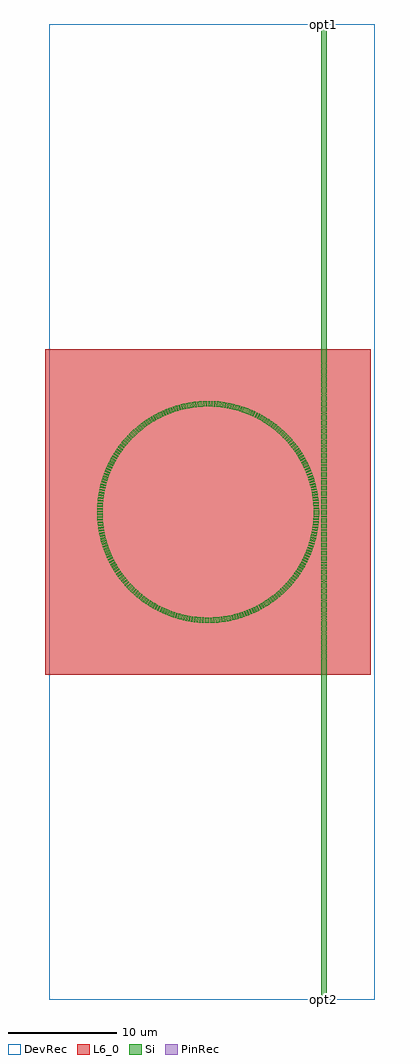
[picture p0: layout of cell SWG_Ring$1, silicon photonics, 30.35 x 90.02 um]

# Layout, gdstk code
import gdstk
lib = gdstk.Library(unit=1e-6, precision=1e-09)
def R(c, l, rs):  # rectangles x0, y0, x1, y1
    for r in rs: c.add(gdstk.rectangle(r[:2], r[2:], *l))
def A(c, l, x, y, w, h, nx, ny, dx, dy):  # array of equal rectangles
    R(c, l, [(x+i*dx, y+j*dy, x+i*dx+w, y+j*dy+h) for i in range(nx) for j in range(ny)])
def P(c, l, *ps):  # polygons
    for p in ps: c.add(gdstk.Polygon(p, *l))
Si = (1, 0)
PinRec = (1, 10)
L6_0 = (6, 0)
DevRec = (68, 0)

swg_ring_1 = lib.new_cell('SWG_Ring$1')
A(swg_ring_1, Si, 10.437, -14.75, 0.5, 0.175, 1, 60, 0, 0.25)
A(swg_ring_1, Si, 10.437, 0, 0.5, 0.175, 1, 60, 0, 0.25)
R(swg_ring_1, Si, [(10.437,-45,10.937,-14.75), (10.437,0,10.937,0.175), (10.437,14.925,10.937,45)])
P(swg_ring_1, Si, [(-10.237,-0.049),(-10.236,0.131),(-9.736,0.124),(-9.737,-0.046)],
  [(0.428,9.728),(0.257,9.734),(0.27,10.233),(0.45,10.227)],
  [(-0.23,9.734),(-0.242,10.234),(-0.063,10.237),(-0.06,9.737)],
  [(-0.474,9.725),(-0.498,10.225),(-0.319,10.232),(-0.303,9.732)],
  [(-0.717,9.711),(-0.754,10.209),(-0.575,10.221),(-0.547,9.722)],
  [(-0.96,9.69),(-1.009,10.187),(-0.831,10.203),(-0.79,9.705)],
  [(-1.202,9.662),(-1.264,10.159),(-1.086,10.179),(-1.033,9.682)],
  [(-1.444,9.629),(-1.518,10.124),(-1.34,10.149),(-1.275,9.653)],
  [(-1.684,9.59),(-1.771,10.083),(-1.594,10.112),(-1.516,9.618)],
  [(-1.924,9.545),(-2.022,10.035),(-1.846,10.069),(-1.756,9.577)],
  [(-2.162,9.494),(-2.273,9.981),(-2.098,10.02),(-1.995,9.53)],
  [(-2.399,9.437),(-2.522,9.921),(-2.348,9.964),(-2.233,9.477)],
  [(-2.634,9.374),(-2.77,9.855),(-2.597,9.902),(-2.47,9.419)],
  [(-2.868,9.305),(-3.015,9.783),(-2.844,9.834),(-2.705,9.354)],
  [(-3.1,9.23),(-3.259,9.704),(-3.089,9.76),(-2.938,9.283)],
  [(-3.33,9.15),(-3.501,9.62),(-3.332,9.68),(-3.169,9.207)],
  [(-3.558,9.064),(-3.741,9.529),(-3.573,9.593),(-3.399,9.125)],
  [(-3.784,8.972),(-3.978,9.432),(-3.812,9.501),(-3.626,9.037)],
  [(-4.007,8.874),(-4.213,9.33),(-4.049,9.402),(-3.851,8.943)],
  [(-4.228,8.771),(-4.445,9.222),(-4.283,9.298),(-4.074,8.844)],
  [(-4.446,8.663),(-4.675,9.107),(-4.514,9.188),(-4.294,8.739)],
  [(-4.662,8.549),(-4.901,8.988),(-4.743,9.072),(-4.511,8.629)],
  [(-4.874,8.429),(-5.124,8.862),(-4.968,8.95),(-4.726,8.513)],
  [(-5.084,8.305),(-5.345,8.731),(-5.191,8.823),(-4.937,8.392)],
  [(-5.29,8.175),(-5.561,8.595),(-5.41,8.691),(-5.146,8.266)],
  [(-5.493,8.04),(-5.775,8.453),(-5.626,8.552),(-5.351,8.135)],
  [(-5.692,7.9),(-5.985,8.305),(-5.838,8.409),(-5.553,7.998)],
  [(-5.888,7.755),(-6.191,8.153),(-6.047,8.26),(-5.751,7.857)],
  [(-6.08,7.605),(-6.393,7.996),(-6.252,8.106),(-5.946,7.71)],
  [(-6.269,7.45),(-6.591,7.833),(-6.453,7.947),(-6.137,7.559)],
  [(-6.453,7.291),(-6.785,7.666),(-6.649,7.783),(-6.325,7.403)],
  [(-6.634,7.127),(-6.975,7.493),(-6.842,7.614),(-6.508,7.243)],
  [(-6.81,6.959),(-7.16,7.317),(-7.031,7.441),(-6.687,7.077)],
  [(-6.982,6.787),(-7.341,7.135),(-7.215,7.263),(-6.862,6.908)],
  [(-7.15,6.61),(-7.517,6.949),(-7.394,7.08),(-7.033,6.734)],
  [(-7.313,6.429),(-7.689,6.759),(-7.569,6.892),(-7.199,6.556)],
  [(-7.472,6.244),(-7.855,6.564),(-7.739,6.701),(-7.361,6.374)],
  [(-7.626,6.055),(-8.017,6.366),(-7.904,6.505),(-7.518,6.187)],
  [(-7.775,5.862),(-8.174,6.163),(-8.065,6.305),(-7.671,5.997)],
  [(-7.919,5.665),(-8.326,5.956),(-8.22,6.101),(-7.819,5.803)],
  [(-8.058,5.466),(-8.472,5.746),(-8.37,5.894),(-7.961,5.606)],
  [(-8.193,5.262),(-8.613,5.532),(-8.515,5.682),(-8.099,5.405)],
  [(-8.322,5.055),(-8.749,5.315),(-8.655,5.467),(-8.232,5.2)],
  [(-8.446,4.846),(-8.879,5.094),(-8.789,5.249),(-8.359,4.993)],
  [(-8.564,4.633),(-9.004,4.871),(-8.917,5.028),(-8.482,4.782)],
  [(-8.678,4.417),(-9.123,4.644),(-9.04,4.803),(-8.599,4.568)],
  [(-8.785,4.198),(-9.237,4.414),(-9.158,4.575),(-8.71,4.352)],
  [(-8.888,3.977),(-9.344,4.181),(-9.269,4.344),(-8.817,4.132)],
  [(-8.984,3.753),(-9.446,3.946),(-9.375,4.111),(-8.917,3.91)],
  [(-9.076,3.527),(-9.542,3.709),(-9.475,3.875),(-9.012,3.686)],
  [(-9.161,3.299),(-9.631,3.469),(-9.569,3.637),(-9.102,3.459)],
  [(-9.241,3.069),(-9.715,3.226),(-9.657,3.396),(-9.186,3.23)],
  [(-9.315,2.837),(-9.793,2.982),(-9.739,3.153),(-9.264,2.999)],
  [(-9.383,2.603),(-9.865,2.736),(-9.815,2.909),(-9.336,2.767)],
  [(-9.445,2.367),(-9.93,2.488),(-9.885,2.662),(-9.402,2.532)],
  [(-9.501,2.13),(-9.989,2.239),(-9.948,2.414),(-9.462,2.296)],
  [(-9.552,1.891),(-10.042,1.988),(-10.006,2.164),(-9.517,2.058)],
  [(-9.596,1.652),(-10.089,1.736),(-10.057,1.913),(-9.565,1.82)],
  [(-9.634,1.411),(-10.129,1.483),(-10.101,1.661),(-9.608,1.58)],
  [(-9.666,1.169),(-10.163,1.229),(-10.14,1.407),(-9.645,1.339)],
  [(-9.693,0.927),(-10.19,0.975),(-10.172,1.153),(-9.675,1.097)],
  [(-9.713,0.684),(-10.212,0.719),(-10.197,0.898),(-9.699,0.854)],
  [(-9.727,0.441),(-10.226,0.464),(-10.217,0.643),(-9.718,0.611)],
  [(-9.735,0.197),(-10.235,0.207),(-10.23,0.387),(-9.73,0.368)],
  [(0.184,9.735),(0.013,9.737),(0.014,10.237),(0.193,10.235)],
  [(5.655,7.927),(5.515,8.025),(5.798,8.437),(5.945,8.334)],
  [(5.454,8.066),(5.312,8.16),(5.585,8.579),(5.735,8.48)],
  [(10.657,4.925),(10.437,14.925),(10.937,14.925),(10.717,4.925)],
  [(1.638,9.598),(1.47,9.625),(1.546,10.12),(1.723,10.091)],
  [(1.398,9.636),(1.229,9.659),(1.292,10.155),(1.47,10.131)],
  [(1.156,9.668),(0.987,9.687),(1.037,10.184),(1.216,10.165)],
  [(0.914,9.694),(0.744,9.709),(0.782,10.207),(0.961,10.192)],
  [(0.671,9.714),(0.501,9.724),(0.526,10.223),(0.705,10.213)],
  [(5.251,8.2),(5.106,8.291),(5.369,8.716),(5.52,8.621)],
  [(5.044,8.329),(4.897,8.416),(5.149,8.848),(5.303,8.756)],
  [(4.834,8.452),(4.685,8.536),(4.926,8.974),(5.082,8.886)],
  [(4.621,8.571),(4.47,8.65),(4.7,9.094),(4.858,9.011)],
  [(4.405,8.684),(4.252,8.759),(4.47,9.209),(4.631,9.13)],
  [(4.186,8.791),(4.032,8.863),(4.239,9.318),(4.401,9.243)],
  [(3.965,8.893),(3.808,8.961),(4.004,9.421),(4.168,9.35)],
  [(3.741,8.99),(3.583,9.054),(3.767,9.519),(3.933,9.451)],
  [(3.515,9.08),(3.355,9.141),(3.528,9.61),(3.695,9.547)],
  [(3.287,9.166),(3.125,9.222),(3.286,9.695),(3.455,9.636)],
  [(3.056,9.245),(2.894,9.297),(3.042,9.774),(3.213,9.72)],
  [(2.824,9.319),(2.66,9.367),(2.797,9.848),(2.969,9.797)],
  [(2.59,9.386),(2.425,9.43),(2.549,9.914),(2.723,9.868)],
  [(2.354,9.448),(2.188,9.488),(2.3,9.975),(2.475,9.933)],
  [(2.117,9.504),(1.95,9.54),(2.05,10.03),(2.225,9.992)],
  [(1.878,9.554),(1.711,9.586),(1.798,10.078),(1.975,10.045)],
  [(9.226,3.113),(9.17,3.274),(9.641,3.442),(9.7,3.273)],
  [(9.145,3.343),(9.085,3.502),(9.552,3.682),(9.615,3.514)],
  [(9.059,3.571),(8.995,3.729),(9.457,3.92),(9.524,3.754)],
  [(8.966,3.796),(8.899,3.953),(9.356,4.156),(9.427,3.991)],
  [(8.869,4.019),(8.797,4.174),(9.249,4.388),(9.324,4.226)],
  [(8.765,4.24),(8.69,4.393),(9.136,4.619),(9.215,4.458)],
  [(8.656,4.458),(8.577,4.609),(9.017,4.846),(9.101,4.687)],
  [(8.542,4.673),(8.459,4.822),(8.893,5.07),(8.981,4.913)],
  [(8.422,4.886),(8.336,5.033),(8.764,5.291),(8.855,5.137)],
  [(8.298,5.095),(8.207,5.24),(8.628,5.509),(8.724,5.357)],
  [(8.167,5.301),(8.073,5.443),(8.488,5.723),(8.587,5.573)],
  [(8.032,5.504),(7.935,5.644),(8.342,5.934),(8.445,5.786)],
  [(7.892,5.703),(7.791,5.841),(8.191,6.14),(8.297,5.996)],
  [(7.747,5.899),(7.642,6.034),(8.035,6.344),(8.145,6.202)],
  [(7.597,6.091),(7.489,6.223),(7.873,6.543),(7.987,6.404)],
  [(7.442,6.279),(7.331,6.409),(7.707,6.738),(7.824,6.602)],
  [(9.734,0.244),(9.728,0.414),(10.228,0.435),(10.234,0.256)],
  [(9.725,0.487),(9.715,0.658),(10.214,0.691),(10.224,0.512)],
  [(9.71,0.73),(9.695,0.9),(10.193,0.947),(10.208,0.768)],
  [(9.688,0.973),(9.67,1.143),(10.166,1.202),(10.186,1.023)],
  [(9.737,0),(9.735,0.171),(10.235,0.179),(10.237,0)],
  [(7.282,6.463),(7.168,6.59),(7.536,6.928),(7.656,6.795)],
  [(7.118,6.644),(7.001,6.767),(7.36,7.115),(7.484,6.985)],
  [(6.95,6.82),(6.829,6.94),(7.18,7.297),(7.307,7.17)],
  [(6.777,6.992),(6.653,7.109),(6.995,7.474),(7.125,7.351)],
  [(6.6,7.159),(6.473,7.273),(6.806,7.647),(6.939,7.527)],
  [(6.419,7.322),(6.289,7.433),(6.612,7.815),(6.748,7.698)],
  [(6.233,7.48),(6.101,7.588),(6.415,7.978),(6.553,7.864)],
  [(6.044,7.634),(5.909,7.739),(6.213,8.136),(6.355,8.026)],
  [(5.851,7.783),(5.714,7.884),(6.007,8.289),(6.152,8.182)],
  [(9.627,1.457),(9.6,1.625),(10.093,1.709),(10.122,1.532)],
  [(9.588,1.697),(9.557,1.865),(10.047,1.961),(10.08,1.785)],
  [(9.542,1.937),(9.507,2.104),(9.995,2.212),(10.032,2.036)],
  [(9.491,2.175),(9.451,2.341),(9.937,2.461),(9.978,2.287)],
  [(9.434,2.412),(9.39,2.577),(9.872,2.709),(9.918,2.536)],
  [(9.37,2.647),(9.322,2.811),(9.801,2.955),(9.851,2.783)],
  [(9.301,2.881),(9.249,3.043),(9.724,3.2),(9.779,3.029)],
  [(9.661,1.215),(9.638,1.385),(10.133,1.456),(10.157,1.278)],
  [(0.188,-10.235),(0.179,-9.735),(0.35,-9.731),(0.368,-10.23)],
  [(5.516,-8.624),(5.247,-8.202),(5.39,-8.109),(5.667,-8.526)],
  [(5.73,-8.483),(5.451,-8.068),(5.591,-7.972),(5.878,-8.381)],
  [(10.437,-14.75),(10.657,-4.75),(10.717,-4.75),(10.937,-14.75)],
  [(6.148,-8.185),(5.847,-7.786),(5.983,-7.682),(6.29,-8.076)],
  [(6.351,-8.029),(6.04,-7.637),(6.173,-7.53),(6.49,-7.917)],
  [(6.55,-7.868),(6.23,-7.483),(6.36,-7.373),(6.686,-7.752)],
  [(6.744,-7.701),(6.415,-7.325),(6.542,-7.211),(6.878,-7.582)],
  [(6.935,-7.53),(6.596,-7.162),(6.721,-7.045),(7.066,-7.407)],
  [(7.121,-7.354),(6.774,-6.995),(6.895,-6.875),(7.249,-7.228)],
  [(7.303,-7.173),(6.947,-6.823),(7.065,-6.7),(7.428,-7.044)],
  [(7.48,-6.988),(7.115,-6.647),(7.23,-6.521),(7.602,-6.856)],
  [(7.653,-6.799),(7.279,-6.467),(7.391,-6.338),(7.771,-6.664)],
  [(7.821,-6.605),(7.439,-6.283),(7.548,-6.151),(7.935,-6.467)],
  [(7.984,-6.408),(7.594,-6.095),(7.699,-5.961),(8.095,-6.267)],
  [(8.142,-6.206),(7.744,-5.903),(7.846,-5.766),(8.249,-6.062)],
  [(8.294,-6),(7.889,-5.707),(7.988,-5.568),(8.398,-5.854)],
  [(8.442,-5.791),(8.03,-5.508),(8.125,-5.366),(8.542,-5.642)],
  [(8.584,-5.577),(8.165,-5.305),(8.257,-5.161),(8.681,-5.426)],
  [(8.721,-5.361),(8.295,-5.099),(8.383,-4.953),(8.814,-5.207)],
  [(8.852,-5.141),(8.42,-4.89),(8.504,-4.742),(8.941,-4.985)],
  [(8.978,-4.918),(8.54,-4.678),(8.621,-4.527),(9.063,-4.76)],
  [(9.099,-4.691),(8.654,-4.462),(8.731,-4.31),(9.179,-4.531)],
  [(9.213,-4.462),(8.763,-4.244),(8.836,-4.09),(9.29,-4.3)],
  [(9.322,-4.23),(8.867,-4.024),(8.936,-3.868),(9.395,-4.066)],
  [(9.425,-3.996),(8.965,-3.801),(9.03,-3.643),(9.494,-3.83)],
  [(9.522,-3.759),(9.057,-3.575),(9.118,-3.416),(9.586,-3.591)],
  [(9.613,-3.519),(9.144,-3.347),(9.201,-3.186),(9.673,-3.35)],
  [(9.698,-3.277),(9.224,-3.117),(9.278,-2.955),(9.754,-3.107)],
  [(9.777,-3.034),(9.3,-2.885),(9.349,-2.722),(9.829,-2.862)],
  [(9.85,-2.788),(9.369,-2.652),(9.414,-2.487),(9.897,-2.615)],
  [(9.917,-2.541),(9.432,-2.416),(9.473,-2.251),(9.96,-2.366)],
  [(9.977,-2.292),(9.49,-2.18),(9.527,-2.013),(10.016,-2.116)],
  [(10.031,-2.041),(9.541,-1.941),(9.574,-1.774),(10.066,-1.865)],
  [(10.079,-1.789),(9.587,-1.702),(9.615,-1.534),(10.109,-1.613)],
  [(10.121,-1.537),(9.627,-1.462),(9.651,-1.293),(10.146,-1.359)],
  [(10.156,-1.283),(9.66,-1.22),(9.68,-1.051),(10.177,-1.105)],
  [(10.185,-1.028),(9.688,-0.978),(9.703,-0.808),(10.202,-0.85)],
  [(10.208,-0.773),(9.709,-0.735),(9.721,-0.565),(10.22,-0.594)],
  [(10.224,-0.517),(9.725,-0.492),(9.732,-0.322),(10.231,-0.338)],
  [(10.234,-0.261),(9.734,-0.248),(9.737,-0.078),(10.237,-0.082)],
  [(5.941,-8.337),(5.651,-7.93),(5.789,-7.829),(6.086,-8.231)],
  [(3.451,-9.638),(3.282,-9.167),(3.442,-9.108),(3.619,-9.576)],
  [(3.691,-9.549),(3.51,-9.082),(3.669,-9.019),(3.857,-9.482)],
  [(3.929,-9.453),(3.737,-8.991),(3.894,-8.925),(4.094,-9.383)],
  [(4.164,-9.352),(3.961,-8.895),(4.116,-8.824),(4.327,-9.277)],
  [(4.397,-9.245),(4.182,-8.793),(4.335,-8.719),(4.558,-9.166)],
  [(4.627,-9.132),(4.401,-8.686),(4.552,-8.607),(4.786,-9.049)],
  [(4.854,-9.013),(4.617,-8.573),(4.766,-8.491),(5.011,-8.927)],
  [(5.078,-8.889),(4.83,-8.455),(4.977,-8.369),(5.233,-8.798)],
  [(5.299,-8.759),(5.04,-8.331),(5.185,-8.242),(5.451,-8.665)],
  [(0.956,-10.192),(0.909,-9.694),(1.079,-9.677),(1.134,-10.174)],
  [(1.211,-10.165),(1.151,-9.669),(1.321,-9.647),(1.388,-10.142)],
  [(1.465,-10.132),(1.393,-9.637),(1.562,-9.611),(1.642,-10.104)],
  [(1.718,-10.092),(1.634,-9.599),(1.802,-9.569),(1.894,-10.06)],
  [(1.97,-10.046),(1.874,-9.555),(2.041,-9.521),(2.145,-10.01)],
  [(2.221,-9.993),(2.112,-9.505),(2.278,-9.467),(2.395,-9.953)],
  [(2.47,-9.935),(2.349,-9.449),(2.515,-9.407),(2.644,-9.89)],
  [(2.718,-9.87),(2.585,-9.388),(2.749,-9.341),(2.89,-9.82)],
  [(2.964,-9.798),(2.819,-9.32),(2.982,-9.269),(3.135,-9.745)],
  [(3.208,-9.721),(3.052,-9.246),(3.213,-9.192),(3.378,-9.664)],
  [(0.445,-10.227),(0.423,-9.728),(0.593,-9.719),(0.624,-10.218)],
  [(0.7,-10.213),(0.666,-9.714),(0.836,-9.701),(0.879,-10.199)],
  [(-9.304,-4.27),(-9.377,-4.106),(-8.919,-3.906),(-8.849,-4.062)],
  [(-6.711,-7.73),(-6.846,-7.611),(-6.511,-7.239),(-6.384,-7.352)],
  [(-9.967,-2.334),(-10.007,-2.159),(-9.518,-2.054),(-9.48,-2.22)],
  [(-6.516,-7.895),(-6.653,-7.78),(-6.328,-7.4),(-6.198,-7.51)],
  [(-9.194,-4.502),(-9.272,-4.34),(-8.819,-4.128),(-8.745,-4.282)],
  [(-6.316,-8.056),(-6.456,-7.944),(-6.141,-7.556),(-6.008,-7.663)],
  [(-10.151,-1.326),(-10.172,-1.148),(-9.676,-1.092),(-9.655,-1.261)],
  [(-6.113,-8.212),(-6.256,-8.103),(-5.95,-7.708),(-5.814,-7.811)],
  [(-9.079,-4.73),(-9.16,-4.571),(-8.713,-4.347),(-8.635,-4.499)],
  [(-5.905,-8.362),(-6.051,-8.257),(-5.755,-7.854),(-5.617,-7.954)],
  [(-9.906,-2.583),(-9.949,-2.409),(-9.464,-2.291),(-9.422,-2.457)],
  [(-5.694,-8.507),(-5.842,-8.406),(-5.557,-7.996),(-5.416,-8.092)],
  [(-8.957,-4.956),(-9.043,-4.798),(-8.601,-4.564),(-8.52,-4.714)],
  [(-5.479,-8.647),(-5.63,-8.55),(-5.355,-8.132),(-5.212,-8.225)],
  [(-10.222,-0.561),(-10.23,-0.382),(-9.73,-0.363),(-9.722,-0.534)],
  [(-5.261,-8.782),(-5.414,-8.688),(-5.15,-8.264),(-5.004,-8.353)],
  [(-8.83,-5.179),(-8.92,-5.023),(-8.484,-4.778),(-8.399,-4.926)],
  [(-5.04,-8.91),(-5.195,-8.821),(-4.941,-8.39),(-4.794,-8.475)],
  [(-9.838,-2.83),(-9.886,-2.657),(-9.403,-2.527),(-9.358,-2.692)],
  [(-4.815,-9.034),(-4.973,-8.948),(-4.73,-8.511),(-4.58,-8.593)],
  [(-8.698,-5.398),(-8.791,-5.245),(-8.362,-4.989),(-8.273,-5.134)],
  [(-4.588,-9.151),(-4.747,-9.07),(-4.515,-8.627),(-4.364,-8.704)],
  [(-10.114,-1.58),(-10.14,-1.402),(-9.645,-1.334),(-9.62,-1.503)],
  [(-4.357,-9.263),(-4.519,-9.186),(-4.298,-8.737),(-4.144,-8.811)],
  [(-8.56,-5.614),(-8.657,-5.463),(-8.234,-5.196),(-8.142,-5.34)],
  [(-4.124,-9.37),(-4.287,-9.296),(-4.078,-8.842),(-3.922,-8.912)],
  [(-9.764,-3.075),(-9.816,-2.904),(-9.337,-2.762),(-9.287,-2.925)],
  [(-3.888,-9.47),(-4.053,-9.4),(-3.855,-8.941),(-3.698,-9.007)],
  [(-8.417,-5.827),(-8.518,-5.678),(-8.102,-5.401),(-8.006,-5.542)],
  [(-3.65,-9.564),(-3.817,-9.499),(-3.63,-9.035),(-3.472,-9.097)],
  [(-10.204,-0.817),(-10.217,-0.638),(-9.718,-0.607),(-9.706,-0.777)],
  [(-3.409,-9.653),(-3.578,-9.591),(-3.403,-9.123),(-3.243,-9.181)],
  [(-8.269,-6.035),(-8.373,-5.89),(-7.964,-5.602),(-7.865,-5.741)],
  [(-3.167,-9.735),(-3.337,-9.678),(-3.174,-9.205),(-3.012,-9.259)],
  [(-9.684,-3.319),(-9.741,-3.149),(-9.265,-2.995),(-9.211,-3.157)],
  [(-2.922,-9.811),(-3.094,-9.758),(-2.942,-9.282),(-2.779,-9.332)],
  [(-8.115,-6.24),(-8.223,-6.097),(-7.821,-5.8),(-7.719,-5.936)],
  [(-2.676,-9.881),(-2.848,-9.833),(-2.709,-9.352),(-2.545,-9.399)],
  [(-10.072,-1.832),(-10.102,-1.656),(-9.609,-1.575),(-9.58,-1.743)],
  [(-2.427,-9.945),(-2.601,-9.901),(-2.474,-9.417),(-2.309,-9.459)],
  [(-7.956,-6.442),(-8.068,-6.301),(-7.674,-5.993),(-7.568,-6.127)],
  [(-2.178,-10.003),(-2.353,-9.963),(-2.238,-9.476),(-2.071,-9.514)],
  [(-9.598,-3.56),(-9.659,-3.391),(-9.187,-3.226),(-9.129,-3.386)],
  [(-1.927,-10.054),(-2.103,-10.019),(-2,-9.529),(-1.833,-9.563)],
  [(-7.792,-6.639),(-7.908,-6.501),(-7.521,-6.184),(-7.412,-6.314)],
  [(-1.675,-10.099),(-1.851,-10.068),(-1.761,-9.576),(-1.593,-9.606)],
  [(-10.181,-1.072),(-10.198,-0.893),(-9.7,-0.85),(-9.683,-1.019)],
  [(-1.421,-10.138),(-1.599,-10.111),(-1.521,-9.618),(-1.352,-9.643)],
  [(-7.624,-6.832),(-7.742,-6.697),(-7.364,-6.37),(-7.252,-6.498)],
  [(-1.167,-10.17),(-1.345,-10.148),(-1.279,-9.653),(-1.11,-9.673)],
  [(-9.506,-3.799),(-9.571,-3.632),(-9.104,-3.455),(-9.042,-3.614)],
  [(-0.912,-10.196),(-1.091,-10.179),(-1.037,-9.682),(-0.868,-9.698)],
  [(-7.451,-7.02),(-7.572,-6.889),(-7.203,-6.552),(-7.087,-6.677)],
  [(-0.657,-10.216),(-0.836,-10.203),(-0.795,-9.704),(-0.625,-9.717)],
  [(-10.023,-2.084),(-10.058,-1.908),(-9.566,-1.815),(-9.533,-1.982)],
  [(-0.401,-10.229),(-0.58,-10.221),(-0.552,-9.721),(-0.381,-9.73)],
  [(-7.272,-7.205),(-7.398,-7.076),(-7.036,-6.731),(-6.917,-6.853)],
  [(-0.145,-10.236),(-0.324,-10.232),(-0.308,-9.732),(-0.138,-9.736)],
  [(-9.408,-4.036),(-9.477,-3.871),(-9.014,-3.681),(-8.948,-3.839)],
  [(-0.068,-10.237),(-0.064,-9.737),(0.106,-9.736),(0.112,-10.236)],
  [(-7.09,-7.384),(-7.218,-7.259),(-6.866,-6.905),(-6.744,-7.024)],
  [(-10.232,-0.305),(-10.236,-0.126),(-9.736,-0.119),(-9.733,-0.29)],
  [(-6.903,-7.56),(-7.034,-7.437),(-6.691,-7.074),(-6.566,-7.19)])
R(swg_ring_1, L6_0, [(-15,-15,15,15)])
R(swg_ring_1, DevRec, [(-14.65,-45,15.35,45)])
swg_ring_1.add(gdstk.FlexPath([(10.687,44.99),(10.687,45.01)], 0.5, ends="flush", simple_path=True, layer=1, datatype=10))  # PinRec
swg_ring_1.add(gdstk.FlexPath([(10.687,-44.99),(10.687,-45.01)], 0.5, ends="flush", simple_path=True, layer=1, datatype=10))  # PinRec
swg_ring_1.add(gdstk.Label('opt1', (10.687,45), layer=1, texttype=10))
swg_ring_1.add(gdstk.Label('opt2', (10.687,-45), layer=1, texttype=10))

lib.write_gds('SWG_Ring_1.gds')
